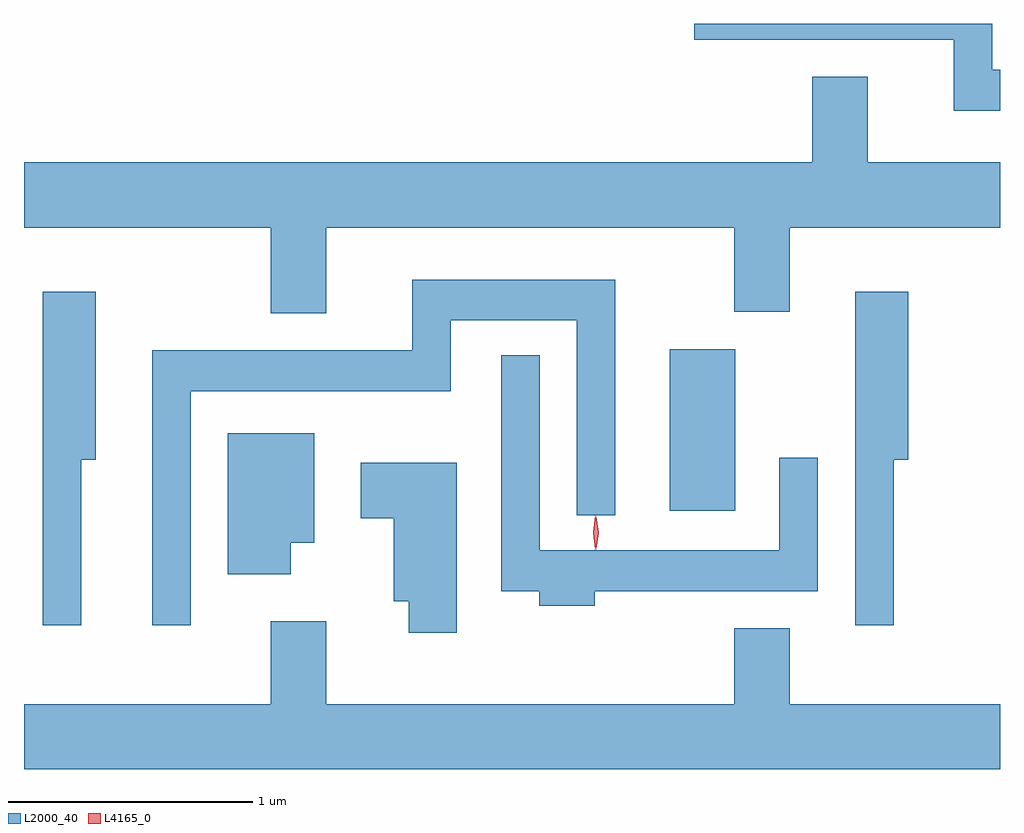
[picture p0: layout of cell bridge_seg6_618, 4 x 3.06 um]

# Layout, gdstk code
import gdstk
lib = gdstk.Library(unit=1e-6, precision=1e-09)
def R(c, l, rs):  # rectangles x0, y0, x1, y1
    for r in rs: c.add(gdstk.rectangle(r[:2], r[2:], *l))
def P(c, l, *ps):  # polygons
    for p in ps: c.add(gdstk.Polygon(p, *l))
L2000_40 = (2000, 40)
L4165_0 = (4165, 0)

bridge_seg6_618 = lib.new_cell('bridge_seg6_618')
R(bridge_seg6_618, L2000_40, [(311.456,1650.996,311.724,1651.659)])
P(bridge_seg6_618, L2000_40, [(312.81,1652.804),(312.779,1652.804),(312.779,1652.993),(311.556,1652.993),(311.556,1652.926),(312.621,1652.926),(312.621,1652.636),(312.81,1652.636)],
  [(308.81,1652.156),(309.821,1652.156),(309.821,1651.806),(310.049,1651.806),(310.049,1652.156),(311.721,1652.156),(311.721,1651.811),(311.949,1651.811),(311.949,1652.156),(312.81,1652.156),(312.81,1652.424),(312.269,1652.424),(312.269,1652.774),(312.041,1652.774),(312.041,1652.424),(308.81,1652.424)],
  [(309.494,1651.486),(310.559,1651.486),(310.559,1651.776),(311.076,1651.776),(311.076,1650.978),(311.234,1650.978),(311.234,1651.944),(310.401,1651.944),(310.401,1651.654),(309.336,1651.654),(309.336,1650.528),(309.494,1650.528)],
  [(309.044,1651.206),(309.104,1651.206),(309.104,1651.894),(308.886,1651.894),(308.886,1650.528),(309.044,1650.528)],
  [(312.374,1651.206),(312.434,1651.206),(312.434,1651.894),(312.216,1651.894),(312.216,1650.528),(312.374,1650.528)],
  [(311.149,1650.666),(312.064,1650.666),(312.064,1651.213),(311.906,1651.213),(311.906,1650.834),(310.924,1650.834),(310.924,1651.633),(310.766,1651.633),(310.766,1650.666),(310.921,1650.666),(310.921,1650.606),(311.149,1650.606)],
  [(309.904,1650.866),(309.999,1650.866),(309.999,1651.314),(309.646,1651.314),(309.646,1650.736),(309.904,1650.736)],
  [(310.584,1651.194),(310.191,1651.194),(310.191,1650.966),(310.326,1650.966),(310.326,1650.626),(310.386,1650.626),(310.386,1650.496),(310.584,1650.496)],
  [(312.81,1650.204),(311.949,1650.204),(311.949,1650.514),(311.721,1650.514),(311.721,1650.204),(310.049,1650.204),(310.049,1650.544),(309.821,1650.544),(309.821,1650.204),(308.81,1650.204),(308.81,1649.936),(312.81,1649.936)])
P(bridge_seg6_618, L4165_0, [(311.152,1650.837),(311.151,1650.838),(311.142,1650.907),(311.151,1650.976),(311.152,1650.976),(311.152,1650.976),(311.162,1650.907),(311.152,1650.838)],
  [(311.156,1650.839),(311.155,1650.84),(311.146,1650.906),(311.155,1650.972),(311.156,1650.973),(311.156,1650.972),(311.166,1650.906),(311.156,1650.84)])

lib.write_gds('bridge_seg6_618.gds')
